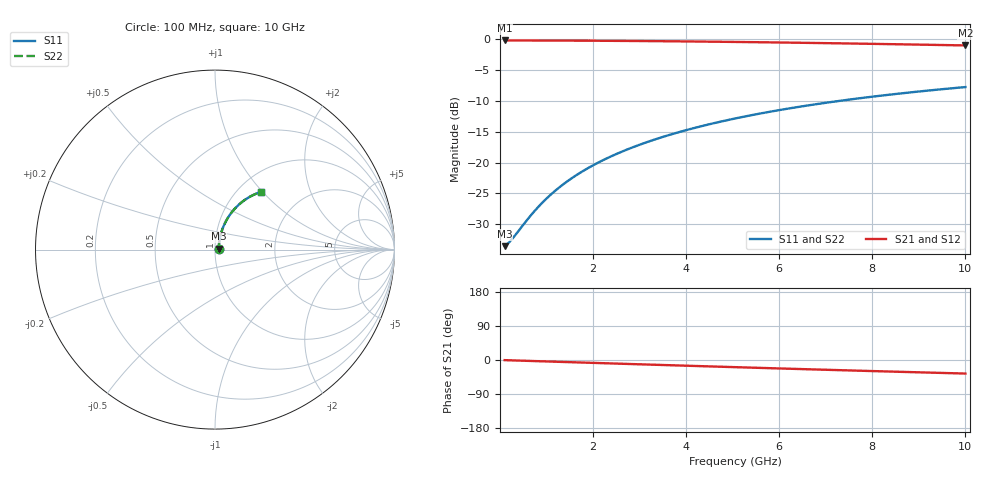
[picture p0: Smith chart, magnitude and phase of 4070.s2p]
# Hz S RI R 50.00
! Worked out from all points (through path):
!   100 points, 100 MHz to 10 GHz, reference 50 ohm
!   highest |S21| = -0.18 dB at 100 MHz (marker M1); lowest = -1.0 dB at 10 GHz (marker M2)
!   group delay of S21, straight-line fit = 9.97 ps
!   lowest |S11| = -33.6 dB at 100 MHz (marker M3), VSWR 1.04, Z = 52.1 + j0.471 ohm
!   |S11| at or under -10 dB: start of sweep to 7.286 GHz
!   |S22| runs from -33.6 to -7.7 dB; largest |S21 - S12| = 0
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1e8  0.0205 0.00452  0.9795 -0.0065  0.9795 -0.0065  0.0205 0.00452
2e8  0.0207 0.00904  0.9793 -0.013  0.9793 -0.013  0.0207 0.00904
3e8  0.0209 0.0136  0.979 -0.0195  0.979 -0.0195  0.0209 0.0136
7e8  0.0224 0.0316  0.9775 -0.0454  0.9775 -0.0454  0.0224 0.0316
8e8  0.0229 0.0361  0.977 -0.0519  0.977 -0.0519  0.0229 0.0361
1e9  0.024 0.045  0.9757 -0.0648  0.9757 -0.0648  0.024 0.045
1.2e9  0.0254 0.0539  0.9743 -0.0777  0.9743 -0.0777  0.0254 0.0539
1.4e9  0.0271 0.0628  0.9725 -0.0905  0.9725 -0.0905  0.0271 0.0628
1.6e9  0.0289 0.0716  0.9706 -0.1033  0.9706 -0.1033  0.0289 0.0716
1.8e9  0.031 0.0803  0.9684 -0.116  0.9684 -0.116  0.031 0.0803
2.1e9  0.0345 0.0933  0.9646 -0.1349  0.9646 -0.1349  0.0345 0.0933
2.5e9  0.0399 0.1103  0.9588 -0.1598  0.9588 -0.1598  0.0399 0.1103
2.9e9  0.0462 0.1269  0.952 -0.1844  0.952 -0.1844  0.0462 0.1269
3.4e9  0.0553 0.1471  0.9424 -0.2145  0.9424 -0.2145  0.0553 0.1471
3.8e9  0.0634 0.1626  0.9337 -0.2381  0.9337 -0.2381  0.0634 0.1626
4.2e9  0.0722 0.1777  0.9242 -0.2611  0.9242 -0.2611  0.0722 0.1777
5.1e9  0.0946 0.2095  0.9001 -0.3109  0.9001 -0.3109  0.0946 0.2095
5.9e9  0.117 0.235  0.8759 -0.3524  0.8759 -0.3524  0.117 0.235
6.7e9  0.1414 0.2577  0.8494 -0.3913  0.8494 -0.3913  0.1414 0.2577
7.5e9  0.1674 0.2776  0.8211 -0.4273  0.8211 -0.4273  0.1674 0.2776
8.4e9  0.1981 0.2965  0.7874 -0.4644  0.7874 -0.4644  0.1981 0.2965
1e10  0.2549 0.321  0.7244 -0.5215  0.7244 -0.5215  0.2549 0.321
